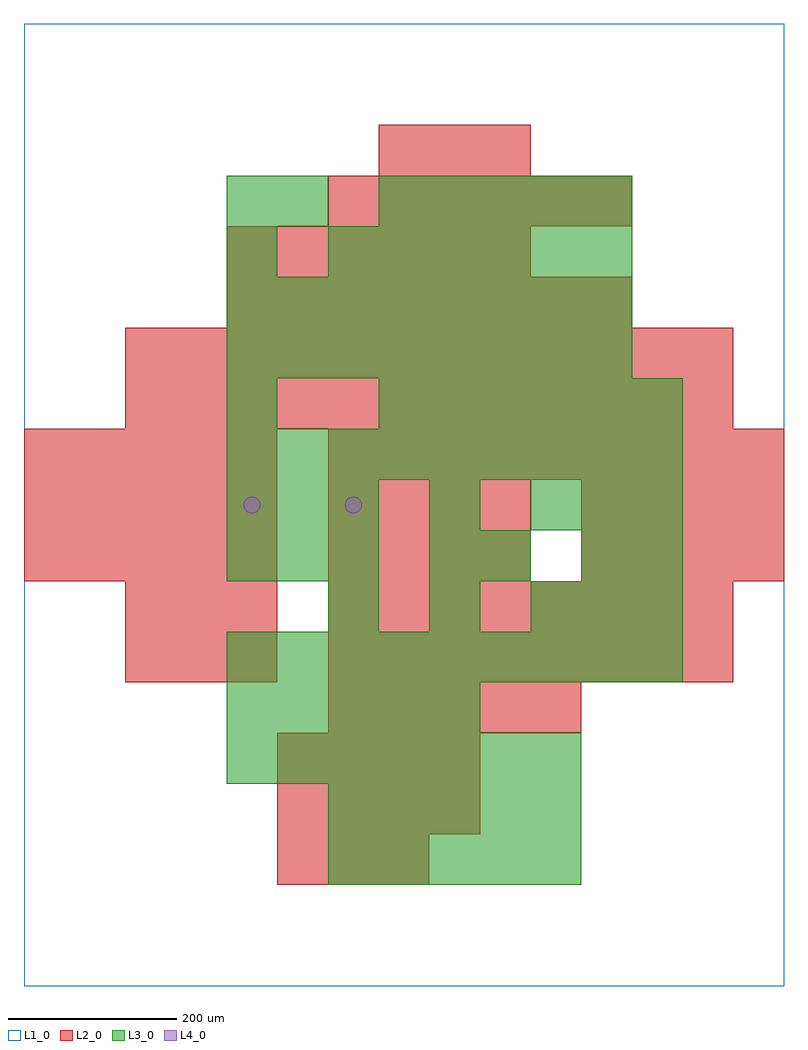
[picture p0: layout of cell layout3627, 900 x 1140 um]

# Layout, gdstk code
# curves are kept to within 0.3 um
import gdstk
lib = gdstk.Library(unit=1e-6, precision=1e-09)
def R(c, l, rs):  # rectangles x0, y0, x1, y1
    for r in rs: c.add(gdstk.rectangle(r[:2], r[2:], *l))
def A(c, l, x, y, w, h, nx, ny, dx, dy):  # array of equal rectangles
    R(c, l, [(x+i*dx, y+j*dy, x+i*dx+w, y+j*dy+h) for i in range(nx) for j in range(ny)])
def P(c, l, *ps):  # polygons
    for p in ps: c.add(gdstk.Polygon(p, *l))
L1_0 = (1, 0)
L2_0 = (2, 0)
L3_0 = (3, 0)
L4_0 = (4, 0)

layout3627 = lib.new_cell('layout3627')
R(layout3627, L1_0, [(0,0,900,1140)])
A(layout3627, L2_0, 300, 120, 60, 60, 3, 1, 60, 0)
A(layout3627, L2_0, 300, 180, 60, 60, 4, 2, 60, 60)
A(layout3627, L2_0, 360, 300, 60, 60, 5, 1, 60, 0)
A(layout3627, L2_0, 120, 360, 60, 60, 3, 2, 60, 60)
A(layout3627, L2_0, 360, 360, 60, 60, 8, 2, 60, 60)
A(layout3627, L2_0, 0, 480, 60, 60, 5, 3, 60, 60)
A(layout3627, L2_0, 360, 480, 60, 60, 4, 2, 60, 60)
A(layout3627, L2_0, 660, 480, 60, 60, 4, 2, 60, 60)
A(layout3627, L2_0, 360, 600, 60, 60, 9, 1, 60, 0)
A(layout3627, L2_0, 120, 660, 60, 60, 12, 2, 60, 60)
A(layout3627, L2_0, 240, 780, 60, 60, 8, 1, 60, 0)
A(layout3627, L2_0, 240, 840, 60, 60, 6, 1, 60, 0)
A(layout3627, L2_0, 360, 900, 60, 60, 6, 1, 60, 0)
A(layout3627, L2_0, 420, 960, 60, 60, 3, 1, 60, 0)
A(layout3627, L3_0, 360, 120, 60, 60, 5, 2, 60, 60)
A(layout3627, L3_0, 240, 240, 60, 60, 7, 1, 60, 0)
A(layout3627, L3_0, 240, 300, 60, 60, 5, 1, 60, 0)
A(layout3627, L3_0, 240, 360, 60, 60, 9, 2, 60, 240)
A(layout3627, L3_0, 360, 420, 60, 60, 3, 1, 120, 0)
A(layout3627, L3_0, 240, 480, 60, 60, 3, 2, 60, 60)
A(layout3627, L3_0, 600, 540, 60, 60, 3, 1, 60, 0)
A(layout3627, L3_0, 420, 660, 60, 60, 6, 1, 60, 0)
A(layout3627, L3_0, 240, 720, 60, 60, 8, 2, 60, 60)
A(layout3627, L3_0, 360, 840, 60, 60, 6, 1, 60, 0)
A(layout3627, L3_0, 420, 900, 60, 60, 5, 1, 60, 0)
R(layout3627, L3_0, [(660,420,720,480), (720,420,780,480), (480,480,540,540), (540,480,600,540), (660,480,720,540), (720,480,780,540), (480,540,540,600), (240,660,300,720), (240,840,300,900), (240,900,300,960), (300,900,360,960)])
P(layout3627, L4_0, [(280,570),(279.239,573.827),(277.071,577.071),(273.827,579.239),(270,580),(266.173,579.239),(262.929,577.071),(260.761,573.827),(260,570),(260.761,566.173),(262.929,562.929),(266.173,560.761),(270,560),(273.827,560.761),(277.071,562.929),(279.239,566.173)],
  [(400,570),(399.239,573.827),(397.071,577.071),(393.827,579.239),(390,580),(386.173,579.239),(382.929,577.071),(380.761,573.827),(380,570),(380.761,566.173),(382.929,562.929),(386.173,560.761),(390,560),(393.827,560.761),(397.071,562.929),(399.239,566.173)])

lib.write_gds('layout3627.gds')
